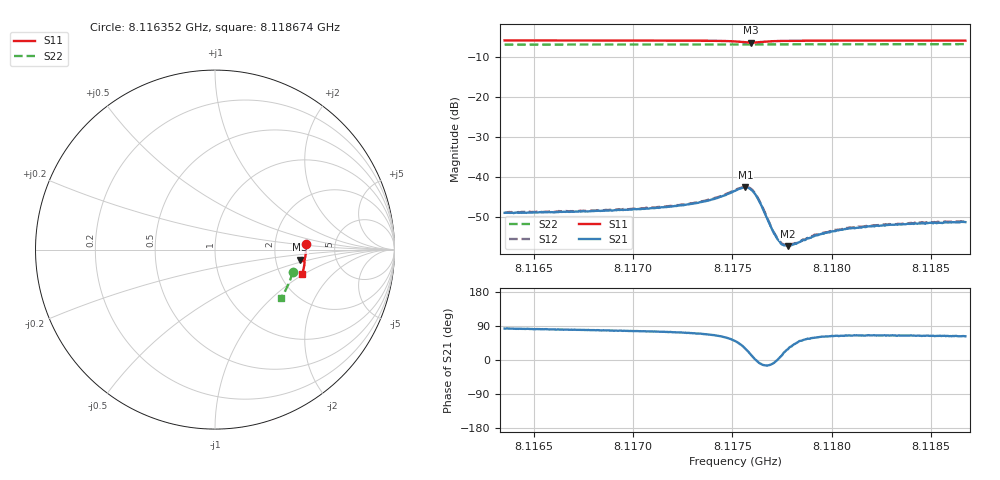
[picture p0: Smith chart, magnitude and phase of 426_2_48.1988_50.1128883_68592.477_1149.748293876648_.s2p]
#  HZ  S  RI  R  50.00
! Rohde & Schwarz Vector Network Analyzer
! Rohde-Schwarz,ZNB20-2Port,1311601062101988,3.16
! Created: UTC 3/20/2024, 11:55:08 AM
! freq[Hz]  re:S11  im:S11  re:S21  im:S21  re:S12  im:S12  re:S22  im:S22
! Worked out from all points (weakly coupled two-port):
!   401 points, 8.116352 GHz to 8.118674 GHz, reference 50 ohm
!   highest |S21| = -42.60 dB at 8.117565 GHz (marker M1); lowest = -57.2 dB at 8.11778 GHz (marker M2)
!   lowest |S11| = -6.4 dB at 8.117594 GHz (marker M3), VSWR 2.83, Z = 138 - j19.8 ohm
!   |S11| at or under -10 dB: nowhere
!   |S22| runs from -6.9 to -6.8 dB; largest |S21 - S12| = 0.00019
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8.1163524e9  0.506 0.0323  0.000439 0.00355  0.000479 0.0036  0.4319 -0.1252
8.1167413e9  0.5067 0.00279  0.000685 0.00366  0.000741 0.0037  0.4246 -0.1511
8.1171301e9  0.5049 -0.028  0.00108 0.00398  0.00117 0.00407  0.4158 -0.1768
8.1172694e9  0.5032 -0.0398  0.00144 0.0043  0.00149 0.00438  0.4123 -0.1858
8.1173623e9  0.5011 -0.0486  0.00187 0.00462  0.00193 0.00469  0.4096 -0.1918
8.1174436e9  0.4973 -0.057  0.00264 0.00507  0.00275 0.0051  0.4071 -0.1971
8.1175132e9  0.4893 -0.0638  0.0043 0.00518  0.00447 0.00525  0.4048 -0.2017
8.1175655e9  0.4782 -0.0623  0.00644 0.00369  0.00655 0.00373  0.403 -0.2045
8.1175945e9  0.4748 -0.0553  0.00678 0.0016  0.00694 0.00161  0.4021 -0.2059
8.1176119e9  0.4764 -0.0503  0.00625 0.000335  0.0064 0.000317  0.4018 -0.2069
8.1176293e9  0.4798 -0.0471  0.00531 -0.000486  0.00541 -0.000523  0.4014 -0.2077
8.117699e9  0.4937 -0.0503  0.00221 -0.000423  0.00226 -0.000435  0.4001 -0.2122
8.1177222e9  0.4957 -0.0534  0.00176 -5.58e-05  0.0018 -6.54e-05  0.3993 -0.2139
8.1177396e9  0.4968 -0.0557  0.00154 0.000198  0.00157 0.00019  0.3989 -0.2149
8.1177512e9  0.4975 -0.0572  0.0014 0.000328  0.00142 0.000323  0.3987 -0.2157
8.1177802e9  0.4982 -0.0607  0.00121 0.000652  0.00122 0.000724  0.3977 -0.2177
8.1178208e9  0.4989 -0.065  0.00105 0.00103  0.00106 0.00104  0.3966 -0.2202
8.1179021e9  0.4989 -0.0732  0.000954 0.00153  0.000988 0.00155  0.3939 -0.2254
8.1179543e9  0.4984 -0.078  0.000937 0.00175  0.00098 0.00175  0.3923 -0.2287
8.1180762e9  0.4972 -0.0882  0.000989 0.00204  0.001 0.00209  0.3882 -0.2364
8.118291e9  0.4939 -0.1052  0.0011 0.00229  0.0011 0.00235  0.3807 -0.2494
8.1186741e9  0.4869 -0.1334  0.00126 0.00243  0.00132 0.0025  0.3662 -0.2721
